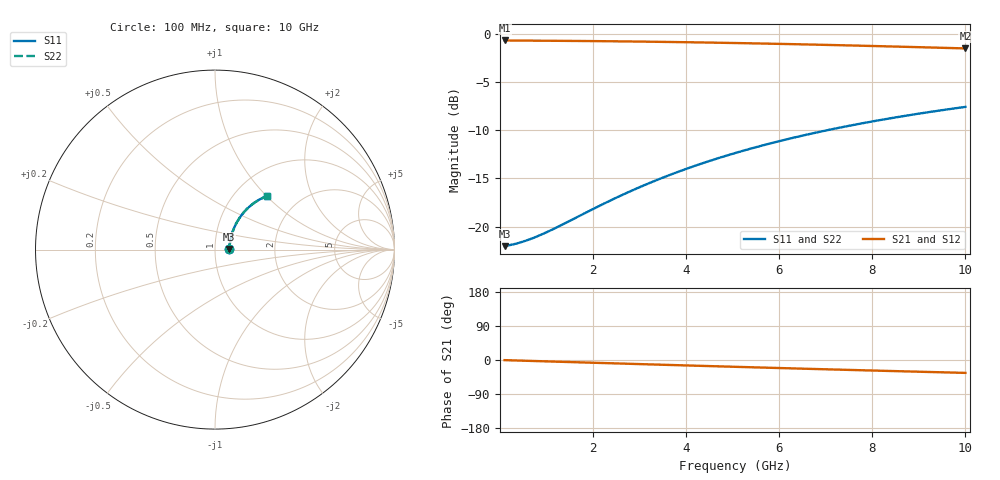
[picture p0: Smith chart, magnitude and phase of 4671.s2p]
# Hz S RI R 50.00
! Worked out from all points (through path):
!   100 points, 100 MHz to 10 GHz, reference 50 ohm
!   highest |S21| = -0.72 dB at 100 MHz (marker M1); lowest = -1.5 dB at 10 GHz (marker M2)
!   group delay of S21, straight-line fit = 9.48 ps
!   lowest |S11| = -22.0 dB at 100 MHz (marker M3), VSWR 1.17, Z = 58.6 + j0.49 ohm
!   |S11| at or under -10 dB: start of sweep to 7.043 GHz
!   |S22| runs from -22.0 to -7.6 dB; largest |S21 - S12| = 0
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1e8  0.0792 0.00416  0.9208 -0.00583  0.9208 -0.00583  0.0792 0.00416
4e8  0.0807 0.0166  0.9193 -0.0233  0.9193 -0.0233  0.0807 0.0166
6e8  0.0816 0.0248  0.9183 -0.0349  0.9183 -0.0349  0.0816 0.0248
8e8  0.0827 0.033  0.9172 -0.0464  0.9172 -0.0464  0.0827 0.033
1e9  0.084 0.0412  0.9159 -0.058  0.9159 -0.058  0.084 0.0412
1.2e9  0.0854 0.0493  0.9144 -0.0694  0.9144 -0.0694  0.0854 0.0493
1.8e9  0.0907 0.0734  0.9088 -0.1036  0.9088 -0.1036  0.0907 0.0734
2.2e9  0.0951 0.0892  0.9041 -0.1261  0.9041 -0.1261  0.0951 0.0892
2.6e9  0.1003 0.1047  0.8987 -0.1483  0.8987 -0.1483  0.1003 0.1047
3e9  0.1062 0.1198  0.8925 -0.1701  0.8925 -0.1701  0.1062 0.1198
3.4e9  0.1128 0.1345  0.8855 -0.1916  0.8855 -0.1916  0.1128 0.1345
3.8e9  0.12 0.1489  0.8778 -0.2126  0.8778 -0.2126  0.12 0.1489
4.2e9  0.1279 0.1627  0.8695 -0.2332  0.8695 -0.2332  0.1279 0.1627
4.6e9  0.1364 0.1761  0.8605 -0.2533  0.8605 -0.2533  0.1364 0.1761
5.1e9  0.1478 0.1921  0.8483 -0.2778  0.8483 -0.2778  0.1478 0.1921
5.5e9  0.1575 0.2042  0.838 -0.2967  0.838 -0.2967  0.1575 0.2042
5.9e9  0.1677 0.2158  0.8271 -0.315  0.8271 -0.315  0.1677 0.2158
6.7e9  0.1894 0.2372  0.8039 -0.35  0.8039 -0.35  0.1894 0.2372
7.5e9  0.2126 0.2561  0.779 -0.3825  0.779 -0.3825  0.2126 0.2561
8.4e9  0.24 0.2744  0.7495 -0.4162  0.7495 -0.4162  0.24 0.2744
9.2e9  0.2651 0.2879  0.7222 -0.4434  0.7222 -0.4434  0.2651 0.2879
1e10  0.2908 0.2989  0.6941 -0.4682  0.6941 -0.4682  0.2908 0.2989
